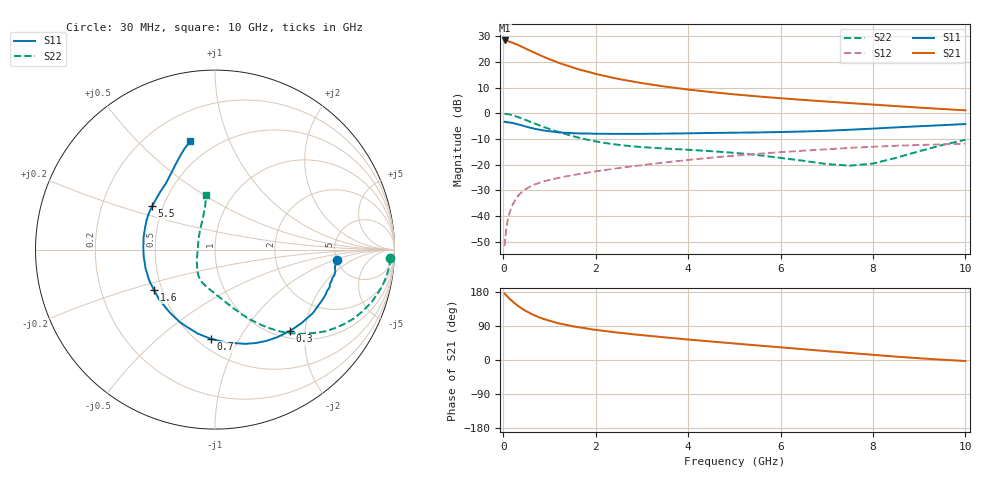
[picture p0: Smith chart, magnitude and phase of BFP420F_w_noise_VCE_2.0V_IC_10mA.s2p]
! Infineon Technologies  Discrete & RF Semiconductors
! BFP420F
! VCE =  2.0 V,  IC =  10 mA
! Common Emitter S-Parameters:  Sep 2011
# GHz  S  MA  R  50
!  f  S11  S21  S12  S22
! GHz  MAG  ANG  MAG  ANG  MAG  ANG  MAG  ANG
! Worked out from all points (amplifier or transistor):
!   54 points, 30 MHz to 10 GHz, reference 50 ohm
!   highest |S21| = 28.4 dB at 30 MHz (marker M1)
!   |S21| within 3 dB of that: start of sweep to 468.5 MHz
!   unconditionally stable (mu >= 1): 2.032 GHz to end of sweep
!   at 120 MHz: K = 0.14, MSG = 33.9 dB, |S12| = -39.8 dB
!   at 1.3 GHz: K = 0.75, MSG = 21.9 dB, |S12| = -24.7 dB
!   at 10 GHz: K = 1.28, MAG = 3.3 dB, |S12| = -11.8 dB
!   lowest NFmin = 1.18 dB at 450 MHz
!   S11 on the Smith chart (normalised r, x): 30 MHz: 5.07, -1.14; 300 MHz: 1.13, -1.66; 700 MHz: 0.58, -0.77; 1.6 GHz: 0.45, -0.24; 5.5 GHz: 0.44, +0.26; 10 GHz: 0.37, +0.73
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0.03  0.6844 -5.0  26.23 175.3  0.0026 91.5  0.9772 -2.8
0.05  0.6744 -7.9  25.95 172.2  0.0041 89.5  0.9756 -4.9
0.07  0.6804 -12.1  25.95 170.2  0.0061 87.6  0.9722 -6.9
0.1  0.6684 -16.7  25.58 166.1  0.0086 82.7  0.9629 -9.8
0.15  0.6609 -25.0  24.58 160.1  0.0126 79.5  0.9429 -14.4
0.25  0.6327 -40.4  22.66 149.5  0.0198 73.4  0.8896 -22.9
0.3  0.616 -47.5  21.82 144.7  0.0234 70.8  0.8615 -26.6
0.4  0.5833 -60.8  19.82 136.0  0.0292 66.2  0.7978 -33.3
0.45  0.5673 -66.7  18.93 132.3  0.0318 64.2  0.7672 -36.3
0.6  0.5208 -83.3  16.27 122.2  0.0382 59.6  0.6758 -44.0
0.7  0.4976 -92.7  14.85 116.6  0.0419 57.4  0.6247 -48.2
0.9  0.4602 -108.9  12.32 107.4  0.0479 54.5  0.5337 -55.2
1.1  0.4368 -122.2  10.47 100.1  0.0531 53.0  0.4618 -60.9
1.3  0.4208 -133.0  8.982 94.3  0.058 52.2  0.4071 -65.8
1.6  0.4079 -146.5  7.324 87.0  0.0649 51.6  0.3426 -72.6
1.7  0.4053 -150.0  6.924 85.2  0.0672 51.6  0.3248 -74.6
2.4  0.398 -169.6  4.86 73.3  0.0837 50.9  0.2502 -88.7
3.5  0.4035 170.3  3.32 59.7  0.1109 49.0  0.2064 -105.8
5.5  0.425 145.4  2.14 38.5  0.1629 40.5  0.1545 -129.6
7  0.4582 126.9  1.697 23.3  0.2 32.2  0.103 -163.7
8.5  0.5332 113.4  1.384 8.9  0.2338 22.4  0.1359 128.0
10  0.6196 102.8  1.146 -2.7  0.257 13.6  0.3062 99.1
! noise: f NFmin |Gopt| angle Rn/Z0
0.45  1.18  0.02  48  0.13
0.9  1.19  0.06  87  0.14
1.9  1.33  0.14  155  0.27
2.4  1.39  0.15  158  0.17
3.5  1.66  0.2  179  0.18
